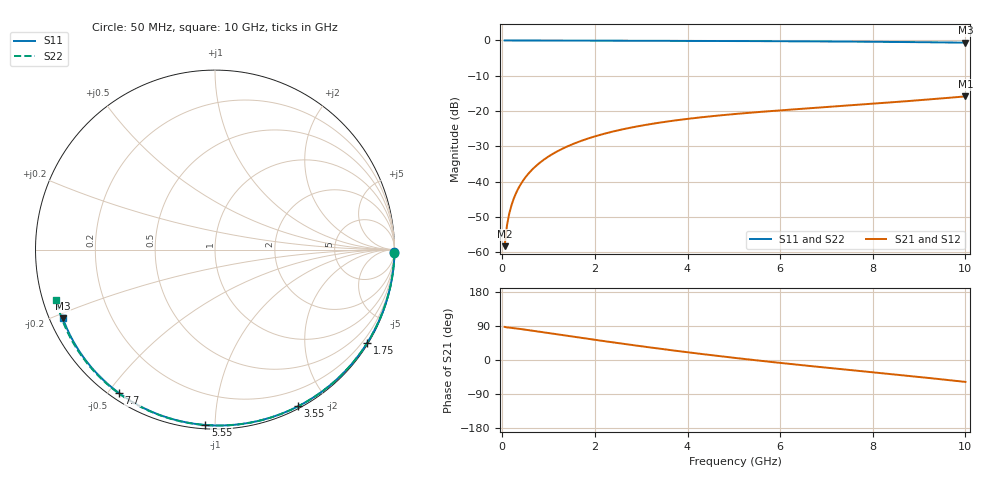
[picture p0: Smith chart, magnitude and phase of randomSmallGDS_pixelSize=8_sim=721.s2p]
! freq	dB(S11)	phase(S11)	dB(S12)	phase(S12)
!  dB(S21)	phase(S21)	dB(S22)	phase(S22)
!S-par simulation data
#  GHz  S  DB  R 50
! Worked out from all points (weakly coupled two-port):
!   200 points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, 50 MHz to 10 GHz, reference 50 ohm
!   highest |S21| = -15.86 dB at 10 GHz (marker M1); lowest = -58.3 dB at 50 MHz (marker M2)
!   lowest |S11| = -0.6 dB at 10 GHz (marker M3), VSWR 27.71, Z = 1.89 - j10.8 ohm
!   |S11| at or under -10 dB: nowhere
!   |S22| runs from -0.6 to 0.0 dB; largest |S21 - S12| = 0
!   S11 on the Smith chart (normalised r, x): 50 MHz: open; 1.75 GHz: 0.04, -3.55; 3.55 GHz: 0.02, -1.66; 5.55 GHz: 0.02, -0.95; 7.7 GHz: 0.03, -0.53; 10 GHz: 0.04, -0.22
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0.05  -0.00 -0.9  -58.32 87.3  -58.32 87.3  -0.00 -1.0
0.1  -0.00 -1.8  -52.50 86.1  -52.50 86.1  -0.00 -1.9
0.15  -0.00 -2.8  -49.09 85.4  -49.09 85.4  -0.00 -2.9
0.2  -0.00 -3.7  -46.65 84.8  -46.65 84.8  -0.00 -3.8
0.25  -0.00 -4.6  -44.75 84.1  -44.75 84.1  -0.00 -4.8
0.35  -0.01 -6.4  -41.86 82.5  -41.86 82.5  -0.01 -6.7
0.5  -0.01 -9.1  -38.80 80.0  -38.80 80.0  -0.01 -9.6
0.7  -0.02 -12.8  -35.91 76.5  -35.91 76.5  -0.02 -13.3
1  -0.02 -18.2  -32.88 71.1  -32.88 71.1  -0.03 -19.0
1.35  -0.03 -24.4  -30.37 64.8  -30.37 64.8  -0.04 -25.5
1.75  -0.05 -31.5  -28.25 57.7  -28.25 57.7  -0.05 -32.9
2.6  -0.07 -46.2  -25.19 42.9  -25.19 42.9  -0.07 -48.2
3.4  -0.10 -59.6  -23.29 29.8  -23.29 29.8  -0.10 -62.1
3.55  -0.10 -62.0  -23.00 27.4  -23.00 27.4  -0.11 -64.7
4.3  -0.13 -74.0  -21.78 15.9  -21.78 15.9  -0.14 -77.1
5.05  -0.16 -85.6  -20.82 5.1  -20.82 5.1  -0.17 -89.1
5.55  -0.19 -93.1  -20.27 -1.7  -20.27 -1.7  -0.19 -96.9
6.7  -0.26 -109.8  -19.16 -16.5  -19.16 -16.5  -0.27 -114.2
7.7  -0.34 -123.8  -18.23 -28.8  -18.23 -28.8  -0.35 -128.8
8.35  -0.41 -132.7  -17.60 -36.7  -17.60 -36.7  -0.42 -138.1
9.2  -0.51 -144.5  -16.73 -47.3  -16.73 -47.3  -0.52 -150.4
10  -0.63 -155.6  -15.86 -57.8  -15.86 -57.8  -0.64 -162.3
